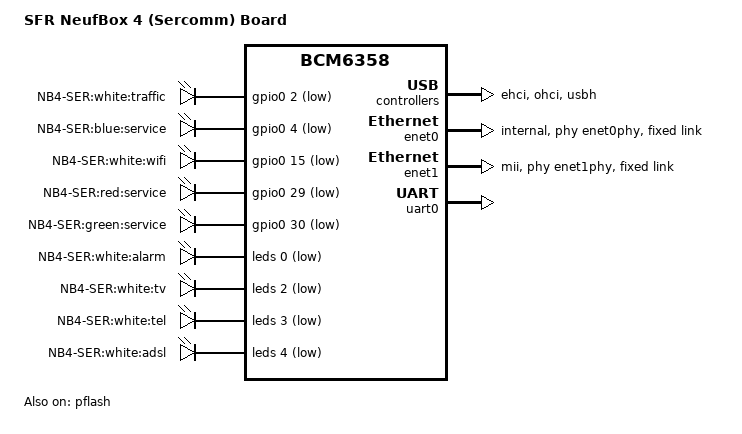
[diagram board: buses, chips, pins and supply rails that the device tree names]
// SPDX-License-Identifier: GPL-2.0+
/*
 * Copyright (C) 2017 Álvaro Fernández Rojas <noltari@gmail.com>
 */

/dts-v1/;

#include "brcm,bcm6358.dtsi"

/ {
	model = "SFR NeufBox 4 (Sercomm) Board";
	compatible = "sfr,nb4-ser", "brcm,bcm6358";

	aliases {
		serial0 = &uart0;
	};

	chosen {
		stdout-path = "serial0:115200n8";
	};

	gpio-leds {
		compatible = "gpio-leds";

		traffic_white {
			label = "NB4-SER:white:traffic";
			gpios = <&gpio0 2 GPIO_ACTIVE_LOW>;
		};

		service_blue {
			label = "NB4-SER:blue:service";
			gpios = <&gpio0 4 GPIO_ACTIVE_LOW>;
		};

		wifi_white {
			label = "NB4-SER:white:wifi";
			gpios = <&gpio0 15 GPIO_ACTIVE_LOW>;
		};

		service_red {
			label = "NB4-SER:red:service";
			gpios = <&gpio0 29 GPIO_ACTIVE_LOW>;
		};

		service_green {
			label = "NB4-SER:green:service";
			gpios = <&gpio0 30 GPIO_ACTIVE_LOW>;
		};
	};
};

&ehci {
	status = "okay";
};

&enet0 {
	status = "okay";
	phy = <&enet0phy>;
	phy-mode = "internal";

	enet0phy: fixed-link {
		reg = <1>;
		speed = <100>;
		full-duplex;
	};
};

&enet1 {
	status = "okay";
	phy = <&enet1phy>;
	phy-mode = "mii";

	enet1phy: fixed-link {
		reg = <1>;
		speed = <100>;
		full-duplex;
	};
};

&gpio0 {
	status = "okay";
};

&leds {
	status = "okay";
	brcm,clk-div = <1>;

	led@0 {
		reg = <0>;
		active-low;
		label = "NB4-SER:white:alarm";
	};

	led@2 {
		reg = <2>;
		active-low;
		label = "NB4-SER:white:tv";
	};

	led@3 {
		reg = <3>;
		active-low;
		label = "NB4-SER:white:tel";
	};

	led@4 {
		reg = <4>;
		active-low;
		label = "NB4-SER:white:adsl";
	};
};

&ohci {
	status = "okay";
};

&pflash {
	status = "okay";
};

&uart0 {
	u-boot,dm-pre-reloc;
	status = "okay";
};

&usbh {
	status = "okay";
};
